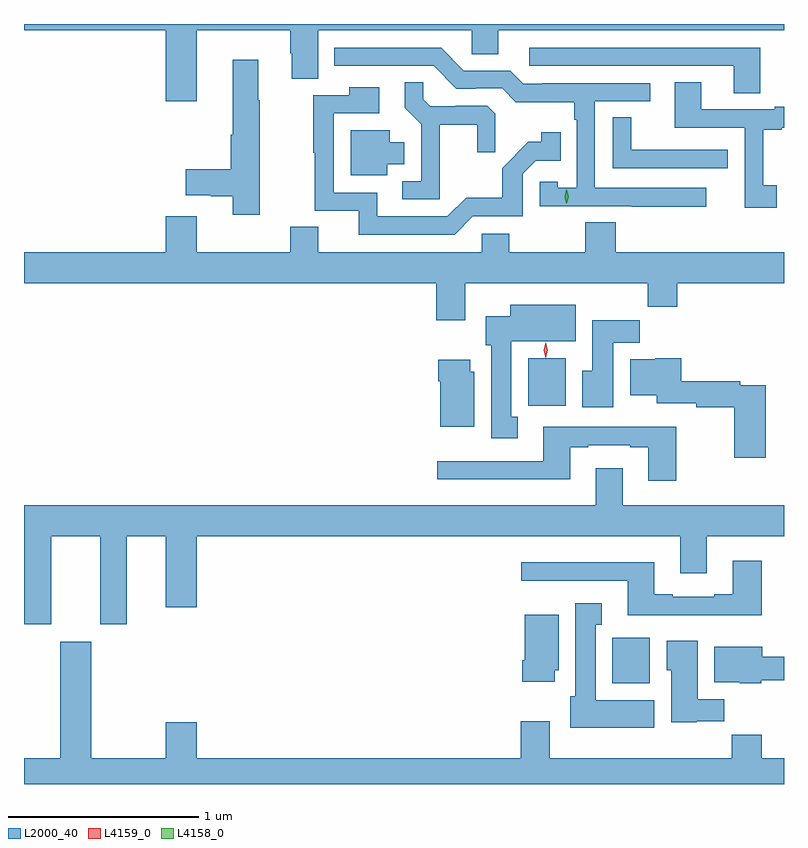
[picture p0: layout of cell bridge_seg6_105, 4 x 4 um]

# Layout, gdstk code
import gdstk
lib = gdstk.Library(unit=1e-6, precision=1e-09)
def R(c, l, rs):  # rectangles x0, y0, x1, y1
    for r in rs: c.add(gdstk.rectangle(r[:2], r[2:], *l))
def P(c, l, *ps):  # polygons
    for p in ps: c.add(gdstk.Polygon(p, *l))
L2000_40 = (2000, 40)
L4158_0 = (4158, 0)
L4159_0 = (4159, 0)

bridge_seg6_105 = lib.new_cell('bridge_seg6_105')
R(bridge_seg6_105, L2000_40, [(467.06,958.55,467.257,958.792), (466.617,960.012,466.813,960.262)])
P(bridge_seg6_105, L2000_40, [(463.963,961.988),(464.708,961.988),(464.708,961.614),(464.872,961.614),(464.872,961.988),(465.364,961.988),(465.364,961.866),(465.371,961.866),(465.371,961.732),(465.511,961.732),(465.511,961.988),(466.32,961.988),(466.32,961.861),(466.459,961.861),(466.459,961.988),(467.963,961.988),(467.963,962.021),(463.963,962.021)],
  [(467.554,961.158),(466.968,961.158),(466.968,961.614),(467.26,961.614),(467.26,961.71),(466.69,961.71),(466.69,961.707),(466.59,961.707),(466.521,961.776),(466.278,961.776),(466.158,961.896),(465.596,961.896),(465.596,961.8),(466.119,961.8),(466.239,961.68),(466.34,961.68),(466.34,961.683),(466.479,961.683),(466.552,961.61),(466.86,961.61),(466.86,961.517),(466.872,961.517),(466.872,961.159),(466.773,961.159),(466.773,961.191),(466.677,961.191),(466.677,961.062),(467.161,961.062),(467.161,961.06),(467.554,961.06)],
  [(467.839,961.896),(466.623,961.896),(466.623,961.8),(467.699,961.8),(467.699,961.657),(467.839,961.657)],
  [(465.204,961.621),(465.196,961.621),(465.196,961.834),(465.062,961.834),(465.062,961.439),(465.05,961.439),(465.05,961.256),(464.814,961.256),(464.814,961.121),(464.946,961.121),(464.946,961.114),(465.062,961.114),(465.062,961.016),(465.204,961.016)],
  [(466.151,961.49),(466.348,961.49),(466.348,961.347),(466.442,961.347),(466.442,961.549),(466.401,961.59),(466.236,961.59),(466.236,961.587),(466.102,961.587),(466.065,961.624),(466.065,961.715),(465.967,961.715),(465.967,961.579),(466.053,961.493),(466.053,961.194),(465.954,961.194),(465.954,961.098),(466.151,961.098)],
  [(467.926,961.173),(467.854,961.173),(467.854,961.464),(467.95,961.464),(467.95,961.476),(467.963,961.476),(467.963,961.585),(467.915,961.585),(467.915,961.572),(467.527,961.572),(467.527,961.715),(467.387,961.715),(467.387,961.476),(467.757,961.476),(467.757,961.053),(467.926,961.053)],
  [(466.326,961.008),(466.587,961.008),(466.587,961.233),(466.656,961.302),(466.787,961.302),(466.787,961.45),(466.686,961.45),(466.686,961.4),(466.616,961.4),(466.479,961.262),(466.479,961.107),(466.29,961.107),(466.191,961.008),(465.823,961.008),(465.823,961.134),(465.594,961.134),(465.594,961.551),(465.832,961.551),(465.832,961.687),(465.676,961.687),(465.676,961.647),(465.486,961.647),(465.486,961.343),(465.493,961.343),(465.493,961.038),(465.725,961.038),(465.725,960.912),(466.23,960.912)],
  [(467.668,961.358),(467.555,961.358),(467.555,961.359),(467.16,961.359),(467.16,961.529),(467.061,961.529),(467.061,961.263),(467.668,961.263)],
  [(465.874,961.283),(465.964,961.283),(465.964,961.399),(465.889,961.399),(465.889,961.462),(465.683,961.462),(465.683,961.226),(465.874,961.226)],
  [(466.285,960.656),(467.245,960.656),(467.245,960.532),(467.402,960.532),(467.402,960.656),(467.963,960.656),(467.963,960.82),(467.078,960.82),(467.078,960.977),(466.918,960.977),(466.918,960.82),(466.518,960.82),(466.518,960.918),(466.371,960.918),(466.371,960.82),(465.511,960.82),(465.511,960.953),(465.364,960.953),(465.364,960.82),(464.872,960.82),(464.872,961.009),(464.708,961.009),(464.708,960.82),(463.963,960.82),(463.963,960.656),(466.133,960.656),(466.133,960.462),(466.285,960.462)],
  [(466.561,959.953),(466.528,959.953),(466.528,960.35),(466.867,960.35),(466.867,960.544),(466.523,960.544),(466.523,960.484),(466.394,960.484),(466.394,960.33),(466.421,960.33),(466.421,959.841),(466.561,959.841)],
  [(467.065,960.344),(467.204,960.344),(467.204,960.462),(466.955,960.462),(466.955,960.196),(466.901,960.196),(466.901,960.003),(467.065,960.003)],
  [(467.866,960.12),(467.732,960.12),(467.732,960.14),(467.422,960.14),(467.422,960.262),(467.286,960.262),(467.286,960.256),(467.153,960.256),(467.153,960.068),(467.294,960.068),(467.294,960.024),(467.5,960.024),(467.5,960.004),(467.701,960.004),(467.701,959.739),(467.866,959.739)],
  [(466.333,960.192),(466.312,960.192),(466.312,960.253),(466.142,960.253),(466.142,960.14),(466.154,960.14),(466.154,959.9),(466.333,959.9)],
  [(467.397,959.901),(466.697,959.901),(466.697,959.721),(466.137,959.721),(466.137,959.624),(466.837,959.624),(466.837,959.793),(466.933,959.793),(466.933,959.805),(467.153,959.805),(467.153,959.793),(467.249,959.793),(467.249,959.616),(467.397,959.616)],
  [(464.107,959.324),(464.363,959.324),(464.363,958.863),(464.503,958.863),(464.503,959.324),(464.708,959.324),(464.708,958.95),(464.872,958.95),(464.872,959.324),(467.417,959.324),(467.417,959.13),(467.557,959.13),(467.557,959.324),(467.963,959.324),(467.963,959.488),(467.113,959.488),(467.113,959.683),(466.973,959.683),(466.973,959.488),(463.963,959.488),(463.963,958.863),(464.107,958.863)],
  [(467.846,959.197),(467.693,959.197),(467.693,959.02),(467.597,959.02),(467.597,959.007),(467.377,959.007),(467.377,959.02),(467.281,959.02),(467.281,959.188),(466.581,959.188),(466.581,959.091),(467.141,959.091),(467.141,958.91),(467.846,958.91)],
  [(467.281,958.462),(466.972,958.462),(466.972,958.859),(467.005,958.859),(467.005,958.972),(466.865,958.972),(466.865,958.482),(466.838,958.482),(466.838,958.316),(467.281,958.316)],
  [(466.756,958.62),(466.777,958.62),(466.777,958.912),(466.598,958.912),(466.598,958.672),(466.586,958.672),(466.586,958.56),(466.756,958.56)],
  [(467.505,958.35),(467.648,958.35),(467.648,958.468),(467.509,958.468),(467.509,958.774),(467.345,958.774),(467.345,958.62),(467.369,958.62),(467.369,958.346),(467.505,958.346)],
  [(467.963,958.156),(467.846,958.156),(467.846,958.28),(467.689,958.28),(467.689,958.156),(466.729,958.156),(466.729,958.351),(466.577,958.351),(466.577,958.156),(464.872,958.156),(464.872,958.345),(464.708,958.345),(464.708,958.156),(464.317,958.156),(464.317,958.771),(464.153,958.771),(464.153,958.156),(463.963,958.156),(463.963,958.021),(467.963,958.021)],
  [(467.844,958.568),(467.963,958.568),(467.963,958.69),(467.848,958.69),(467.848,958.744),(467.597,958.744),(467.597,958.556),(467.73,958.556),(467.73,958.55),(467.844,958.55)])
P(bridge_seg6_105, L4158_0, [(466.818,961.077),(466.809,961.113),(466.818,961.149),(466.819,961.149),(466.819,961.149),(466.829,961.113),(466.819,961.077),(466.819,961.077)])
P(bridge_seg6_105, L4159_0, [(466.709,960.264),(466.709,960.264),(466.699,960.305),(466.709,960.346),(466.709,960.346),(466.709,960.346),(466.719,960.305),(466.709,960.264)])

lib.write_gds('bridge_seg6_105.gds')
